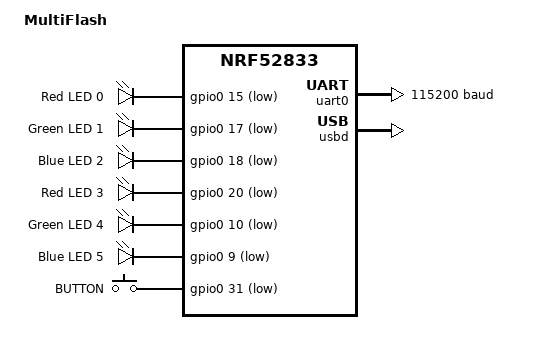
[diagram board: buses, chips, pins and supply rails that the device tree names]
/*
 * Copyright (c) 202 Lothar Felten <lothar.felten@gmail.com>
 *
 * SPDX-License-Identifier: Apache-2.0
 */

/dts-v1/;
#include <nordic/nrf52833_qdaa.dtsi>
#include "multiflash-pinctrl.dtsi"
#include <zephyr/dt-bindings/input/input-event-codes.h>

/ {
	model = "MultiFlash";
	compatible = "felten,multiflash";

	/* These aliases are provided for compatibility with samples */
	aliases {
		led0 = &led0;
                led1 = &led1;
                led2 = &led2; 
		led3 = &led3;
                led4 = &led4;
                led5 = &led5; 
		sw0 = &button;
		watchdog0 = &wdt0;
	};

	chosen {
		zephyr,console = &uart0;
		zephyr,shell-uart = &uart0;
		zephyr,bt-mon-uart = &uart0;
		zephyr,bt-c2h-uart = &uart0;
		zephyr,sram = &sram0;
		zephyr,flash = &flash0;
		zephyr,code-partition = &slot0_partition;
	};

	leds {
		compatible = "gpio-leds";

		led0: led_0 {
			gpios = <&gpio0 15 GPIO_ACTIVE_LOW>;
			label = "Red LED 0";
		};

		led1: led_1 {
			gpios = <&gpio0 17 GPIO_ACTIVE_LOW>;
			label = "Green LED 1";
		};

		led2: led_2 {
			gpios = <&gpio0 18 GPIO_ACTIVE_LOW>;
			label = "Blue LED 2";
		};

		led3: led_3 {
			gpios = <&gpio0 20 GPIO_ACTIVE_LOW>;
			label = "Red LED 3";
		};

		led4: led_4 {
			gpios = <&gpio0 10 GPIO_ACTIVE_LOW>;
			label = "Green LED 4";
		};

		led5: led_5 {
			gpios = <&gpio0 9 GPIO_ACTIVE_LOW>;
			label = "Blue LED 5";
		};

	};

	gpio_keys {
		compatible = "gpio-keys";
		button: button_0 {
			label = "BUTTON";
			gpios = <&gpio0 31 GPIO_ACTIVE_LOW>;
			zephyr,code = <INPUT_KEY_A>;
		};
	};

};

&gpiote {
	status = "okay";
};

&gpio0 {
	status = "okay";
};

&gpio1 {
	status = "okay";
};

&uart0 {
	compatible = "nordic,nrf-uart";
	status = "okay";
	current-speed = <115200>;
	pinctrl-0 = <&uart0_default>;
	pinctrl-1 = <&uart0_sleep>;
	pinctrl-names = "default", "sleep";
};

&flash0 {

	partitions {
		compatible = "fixed-partitions";
		#address-cells = <1>;
		#size-cells = <1>;

		boot_partition: partition@0 {
			label = "mcuboot";
			reg = <0x00000000 0xC000>;
		};
		slot0_partition: partition@c000 {
			label = "image-0";
			reg = <0x0000C000 0x32000>;
		};
		slot1_partition: partition@3e000 {
			label = "image-1";
			reg = <0x0003E000 0x32000>;
		};
		scratch_partition: partition@70000 {
			label = "image-scratch";
			reg = <0x00070000 0xA000>;
		};
		storage_partition: partition@7a000 {
			label = "storage";
			reg = <0x0007A000 0x00006000>;
		};
	};
};

zephyr_udc0: &usbd {
	compatible = "nordic,nrf-usbd";
	status = "okay";
};
